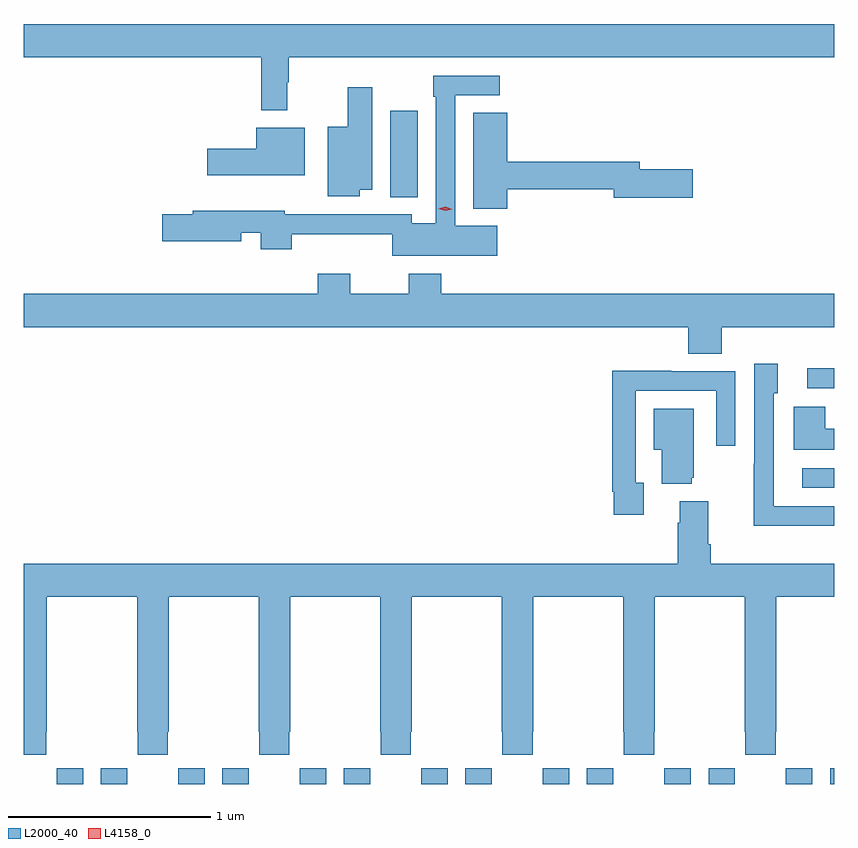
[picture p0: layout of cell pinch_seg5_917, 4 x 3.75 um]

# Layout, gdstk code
import gdstk
lib = gdstk.Library(unit=1e-6, precision=1e-09)
def R(c, l, rs):  # rectangles x0, y0, x1, y1
    for r in rs: c.add(gdstk.rectangle(r[:2], r[2:], *l))
def P(c, l, *ps):  # polygons
    for p in ps: c.add(gdstk.Polygon(p, *l))
L2000_40 = (2000, 40)
L4158_0 = (4158, 0)

pinch_seg5_917 = lib.new_cell('pinch_seg5_917')
R(pinch_seg5_917, L2000_40, [(658.098,897.128,658.228,897.205), (658.316,897.128,658.446,897.205), (658.698,897.128,658.828,897.205), (658.916,897.128,659.046,897.205), (659.298,897.128,659.428,897.205), (659.516,897.128,659.646,897.205), (659.898,897.128,660.028,897.205), (660.116,897.128,660.246,897.205), (660.498,897.128,660.628,897.205), (660.716,897.128,660.846,897.205), (661.098,897.128,661.228,897.205), (661.316,897.128,661.446,897.205), (661.698,897.128,661.828,897.205), (661.916,897.128,661.936,897.205), (661.779,898.59,661.936,898.686), (661.803,899.082,661.936,899.18), (659.744,900.025,659.881,900.451)])
P(pinch_seg5_917, L2000_40, [(659.236,900.593),(659.243,900.593),(659.243,900.716),(661.936,900.716),(661.936,900.88),(657.936,900.88),(657.936,900.716),(659.107,900.716),(659.107,900.453),(659.236,900.453)],
  [(660.274,899.884),(660.066,899.884),(660.066,900.528),(660.286,900.528),(660.286,900.624),(659.958,900.624),(659.958,900.521),(659.97,900.521),(659.97,899.896),(659.85,899.896),(659.85,899.94),(659.223,899.94),(659.223,899.959),(658.769,899.959),(658.769,899.942),(658.62,899.942),(658.62,899.807),(659.008,899.807),(659.008,899.85),(659.105,899.85),(659.105,899.768),(659.258,899.768),(659.258,899.843),(659.754,899.843),(659.754,899.735),(660.274,899.735)],
  [(659.593,900.062),(659.656,900.062),(659.656,900.568),(659.534,900.568),(659.534,900.373),(659.435,900.373),(659.435,900.029),(659.593,900.029)],
  [(660.322,900.064),(660.848,900.064),(660.848,900.022),(661.237,900.022),(661.237,900.164),(660.976,900.164),(660.976,900.2),(660.322,900.2),(660.322,900.443),(660.155,900.443),(660.155,899.969),(660.322,899.969)],
  [(659.323,900.367),(659.084,900.367),(659.084,900.264),(658.842,900.264),(658.842,900.134),(659.323,900.134)],
  [(661.382,899.384),(661.936,899.384),(661.936,899.548),(659.996,899.548),(659.996,899.647),(659.836,899.647),(659.836,899.548),(659.547,899.548),(659.547,899.647),(659.387,899.647),(659.387,899.548),(657.936,899.548),(657.936,899.384),(661.217,899.384),(661.217,899.251),(661.382,899.251)],
  [(661.936,898.5),(661.639,898.5),(661.639,898.754),(661.638,898.754),(661.638,899.058),(661.657,899.058),(661.657,899.203),(661.542,899.203),(661.542,898.709),(661.54,898.709),(661.54,898.403),(661.936,898.403)],
  [(660.997,898.614),(660.957,898.614),(660.957,899.07),(661.353,899.07),(661.353,898.797),(661.449,898.797),(661.449,899.166),(661.133,899.166),(661.133,899.168),(660.841,899.168),(660.841,898.57),(660.849,898.57),(660.849,898.458),(660.997,898.458)],
  [(661.936,898.882),(661.893,898.882),(661.893,898.99),(661.736,898.99),(661.736,898.778),(661.936,898.778)],
  [(661.232,898.641),(661.243,898.641),(661.243,898.981),(661.046,898.981),(661.046,898.778),(661.085,898.778),(661.085,898.61),(661.232,898.61)],
  [(657.936,897.273),(658.047,897.273),(658.047,897.385),(658.05,897.385),(658.05,898.052),(658.495,898.052),(658.495,897.385),(658.497,897.385),(658.497,897.273),(658.647,897.273),(658.647,897.385),(658.65,897.385),(658.65,898.052),(659.095,898.052),(659.095,897.385),(659.097,897.385),(659.097,897.273),(659.247,897.273),(659.247,897.385),(659.25,897.385),(659.25,898.052),(659.695,898.052),(659.695,897.385),(659.697,897.385),(659.697,897.273),(659.847,897.273),(659.847,897.385),(659.85,897.385),(659.85,898.052),(660.295,898.052),(660.295,897.385),(660.297,897.385),(660.297,897.273),(660.447,897.273),(660.447,897.385),(660.45,897.385),(660.45,898.052),(660.895,898.052),(660.895,897.385),(660.897,897.385),(660.897,897.273),(661.047,897.273),(661.047,897.385),(661.05,897.385),(661.05,898.052),(661.495,898.052),(661.495,897.385),(661.497,897.385),(661.497,897.273),(661.647,897.273),(661.647,897.385),(661.65,897.385),(661.65,898.052),(661.936,898.052),(661.936,898.216),(661.328,898.216),(661.328,898.312),(661.315,898.312),(661.315,898.525),(661.175,898.525),(661.175,898.418),(661.163,898.418),(661.163,898.216),(657.936,898.216)])
P(pinch_seg5_917, L4158_0, [(660.017,899.957),(659.982,899.968),(659.982,899.968),(659.982,899.968),(660.017,899.977),(660.052,899.966),(660.052,899.966),(660.052,899.966)])

lib.write_gds('pinch_seg5_917.gds')
